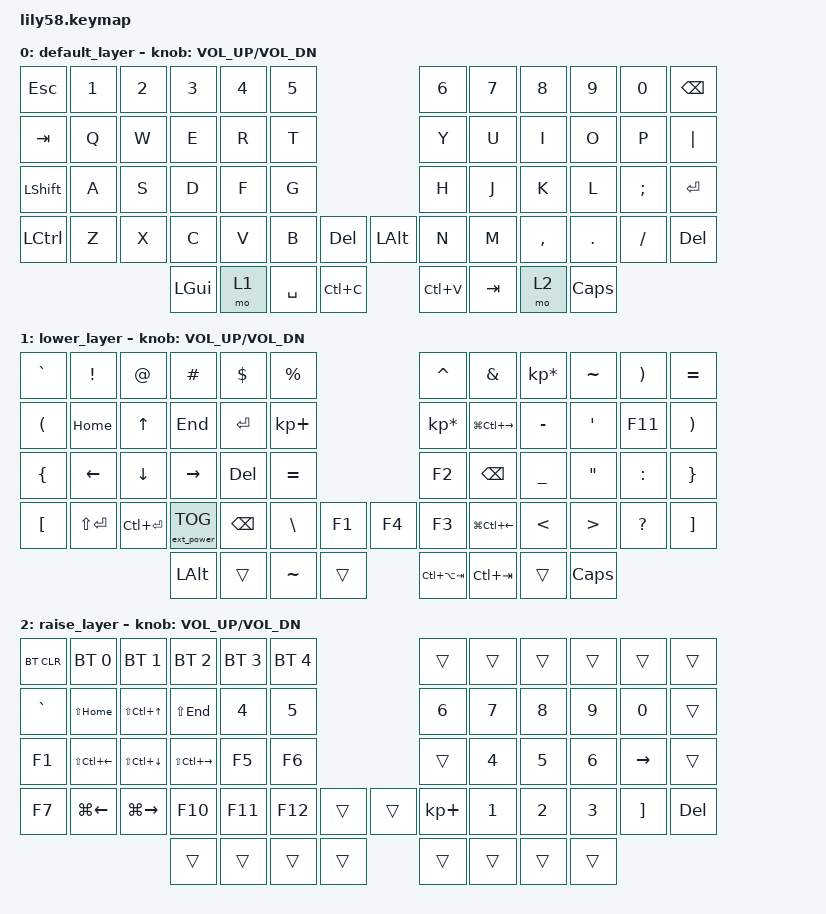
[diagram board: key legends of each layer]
/*
 * Copyright (c) 2020 The ZMK Contributors
 *
 * SPDX-License-Identifier: MIT
 */

#include <behaviors.dtsi>
#include <dt-bindings/zmk/keys.h>
#include <dt-bindings/zmk/bt.h>
#include <dt-bindings/zmk/ext_power.h>

/ {
	keymap {
		compatible = "zmk,keymap";

		default_layer {
// ------------------------------------------------------------------------------------------------------------
// |  ESC  |  1  |  2  |  3   |  4   |  5   |                   |  6   |  7    |  8    |  9   |   0   |   `   |
// |  TAB  |  Q  |  W  |  E   |  R   |  T   |                   |  Y   |  U    |  I    |  O   |   P   |   -   |
// |  CTRL |  A  |  S  |  D   |  F   |  G   |                   |  H   |  J    |  K    |  L   |   ;   |   '   |
// | SHIFT |  Z  |  X  |  C   |  V   |  B   |   "["  |  |  "]"  |  N   |  M    |  ,    |  .   |   /   | SHIFT |
//                     | ALT  | GUI  | LOWER|  SPACE |  | ENTER | RAISE| BSPC  | GUI   |
			bindings = <
&kp ESC   &kp N1 &kp N2 &kp N3   &kp N4   &kp N5                     &kp N6 &kp N7   &kp N8    &kp N9  &kp N0   &kp BSPC
&kp TAB   &kp Q  &kp W  &kp E    &kp R    &kp T                      &kp Y  &kp U    &kp I     &kp O   &kp P    &kp PIPE
&kp LSHFT &kp A  &kp S  &kp D    &kp F    &kp G                      &kp H  &kp J    &kp K     &kp L   &kp SEMI &kp RET
&kp LCTRL &kp Z  &kp X  &kp C    &kp V    &kp B  &kp DEL   &kp LALT &kp N  &kp M    &kp COMMA &kp DOT &kp FSLH &kp DEL
                        &kp LGUI &mo 1    &kp SPACE  &kp LC(C)  &kp LC(V)  &kp TAB &mo 2 &kp CAPSLOCK
			>;

			sensor-bindings = <&inc_dec_kp C_VOL_UP C_VOL_DN>;
		};

		lower_layer {
// ------------------------------------------------------------------------------------------------------------
// | BTCLR | BT1 | BT2 |  BT3 |  BT4 |  BT5 |                   |      |       |       |      |       |       |
// |  F1   |  F2 |  F3 |  F4  |  F5  |  F6  |                   |  F7  |  F8   |  F9   |  F10 |  F11  |  F12  |
// |   `   |  !  |  @  |  #   |  $   |  %   |                   |  ^   |  &    |  *    |  (   |   )   |   ~   |  
// |       |     |     |      |      |      |        |  |       |      |  _    |  +    |  {   |   }   |  "|"  |
//                     |      |      |      |        |  |       |      |       |       |
			bindings = <
&kp GRAVE  &kp EXCL   	    &kp AT            &kp HASH          &kp DOLLAR     &kp PRCNT                   		 &kp CARET			    &kp AMPS  &kp KP_MULTIPLY	 &kp TILDE  &kp RPAR    &kp EQUAL
&kp LPAR   &kp HOME         &kp UP            &kp END           &kp RET        &kp KP_PLUS                       &kp KP_MULTIPLY    	&kp LG(LC(RIGHT))    &kp MINUS          &kp SQT   &kp F11     &kp RPAR
&kp LBRC   &kp LEFT         &kp DOWN          &kp RIGHT         &kp DEL        &kp EQUAL                   		 &kp F2 				&kp BSPC  &kp UNDER 		 &kp DQT   &kp COLON   &kp RBRC
&kp LBKT   &kp LS(ENTER)    &kp LC(ENTER) &ext_power EP_TOG &kp BSPC       &kp BSLH   &kp F1   &kp F4    	 &kp F3    				&kp LG(LC(LEFT))    &kp LT     		 &kp GT    &kp QMARK   &kp RBKT
                                              &kp LALT            &trans         &kp TILDE    &trans   &kp LC(LA(TAB))    &kp LC(TAB)   &trans    &kp CAPSLOCK
			>;

			sensor-bindings = <&inc_dec_kp C_VOL_UP C_VOL_DN>;
		};

		raise_layer {
// ------------------------------------------------------------------------------------------------------------
// |       |     |     |      |      |      |                   |      |       |       |      |       |       |
// |   `   |  1  |  2  |  3   |  4   |  5   |                   |  6   |   7   |   8   |  9   |   0   |       |
// |   F1  |  F2 |  F3 |  F4  |  F5  |  F6  |                   |      |   <-  |   ^   |  v   |  ->   |       |
// |   F7  |  F8 |  F9 |  F10 |  F11 |  F12 |        |  |       |  +   |   -   |   =   |  [   |   ]   |   \   |
//                     |      |      |      |        |  |       |      |       |       |
			bindings = <
&bt BT_CLR &bt BT_SEL 0     &bt BT_SEL 1      &bt BT_SEL 2      &bt BT_SEL 3 &bt BT_SEL 4                         &trans      &trans    &trans    &trans   &trans    &trans
&kp GRAVE &kp LS(HOME) &kp LS(LC(UP)) &kp LS(END)  &kp N4  &kp N5                       &kp N6      &kp N7    &kp N8    &kp N9   &kp N0    &trans
&kp F1    &kp LS(LC(LEFT)) &kp LS(LC(DOWN)) &kp LS(LC(RIGHT))  &kp F5  &kp F6                       &trans      &kp N4  &kp N5  &kp N6   &kp RIGHT &trans
&kp F7    &kp LG(LEFT) &kp LG(RIGHT) &kp F10 &kp F11 &kp F12   &trans   &trans    &kp KP_PLUS &kp N1 &kp N2 &kp N3 &kp RBKT  &kp DEL
                        &trans  &trans  &trans    &trans   &trans    &trans      &trans    &trans
			>;

			sensor-bindings = <&inc_dec_kp C_VOL_UP C_VOL_DN>;
		};
	};
};
